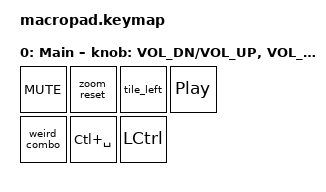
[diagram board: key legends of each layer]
#include <behaviors.dtsi>
#include <dt-bindings/zmk/keys.h>
#include <dt-bindings/zmk/bt.h>

/ {
    macros {
        tile_left: tile_left {
            compatible = "zmk,behavior-macro";
            #binding-cells = <0>;
            bindings
                = <&macro_press &kp LCTRL &kp LSHFT &kp GLOBE>
                , <&macro_tap &kp LEFT>
                , <&macro_release &kp LCTRL &kp LSHFT &kp GLOBE>
                ;
        };

        zoom_reset: zoom_reset {
            compatible = "zmk,behavior-macro";
            #binding-cells = <0>;
            bindings
                = <&macro_press &kp LGUI>
                , <&macro_tap &kp N0>
                , <&macro_release &kp LGUI>
                ;
        };

        weird_combo: weird_combo {
            compatible = "zmk,behavior-macro";
            #binding-cells = <0>;
            bindings
                = <&macro_press &kp LCTRL &kp LSHFT &kp LALT &kp LGUI>
                , <&macro_tap &kp F13>
                , <&macro_release &kp LCTRL &kp LSHFT &kp LALT &kp LGUI>
                ;
        };
    };

    keymap {
        compatible = "zmk,keymap";

        default_layer {
            display-name = "Main";
            bindings = <
                &kp C_MUTE
                &zoom_reset
                &tile_left
                &kp C_PP
                &weird_combo
                &kp LC(SPACE)
                &kp LCTRL
            >;

            sensor-bindings = <
                &inc_dec_kp C_VOL_DN C_VOL_UP
                &inc_dec_kp C_VOL_DN C_VOL_UP
                &inc_dec_kp LEFT RIGHT
                &inc_dec_kp C_VOL_DN C_VOL_UP
            >;
        };
    };
};
